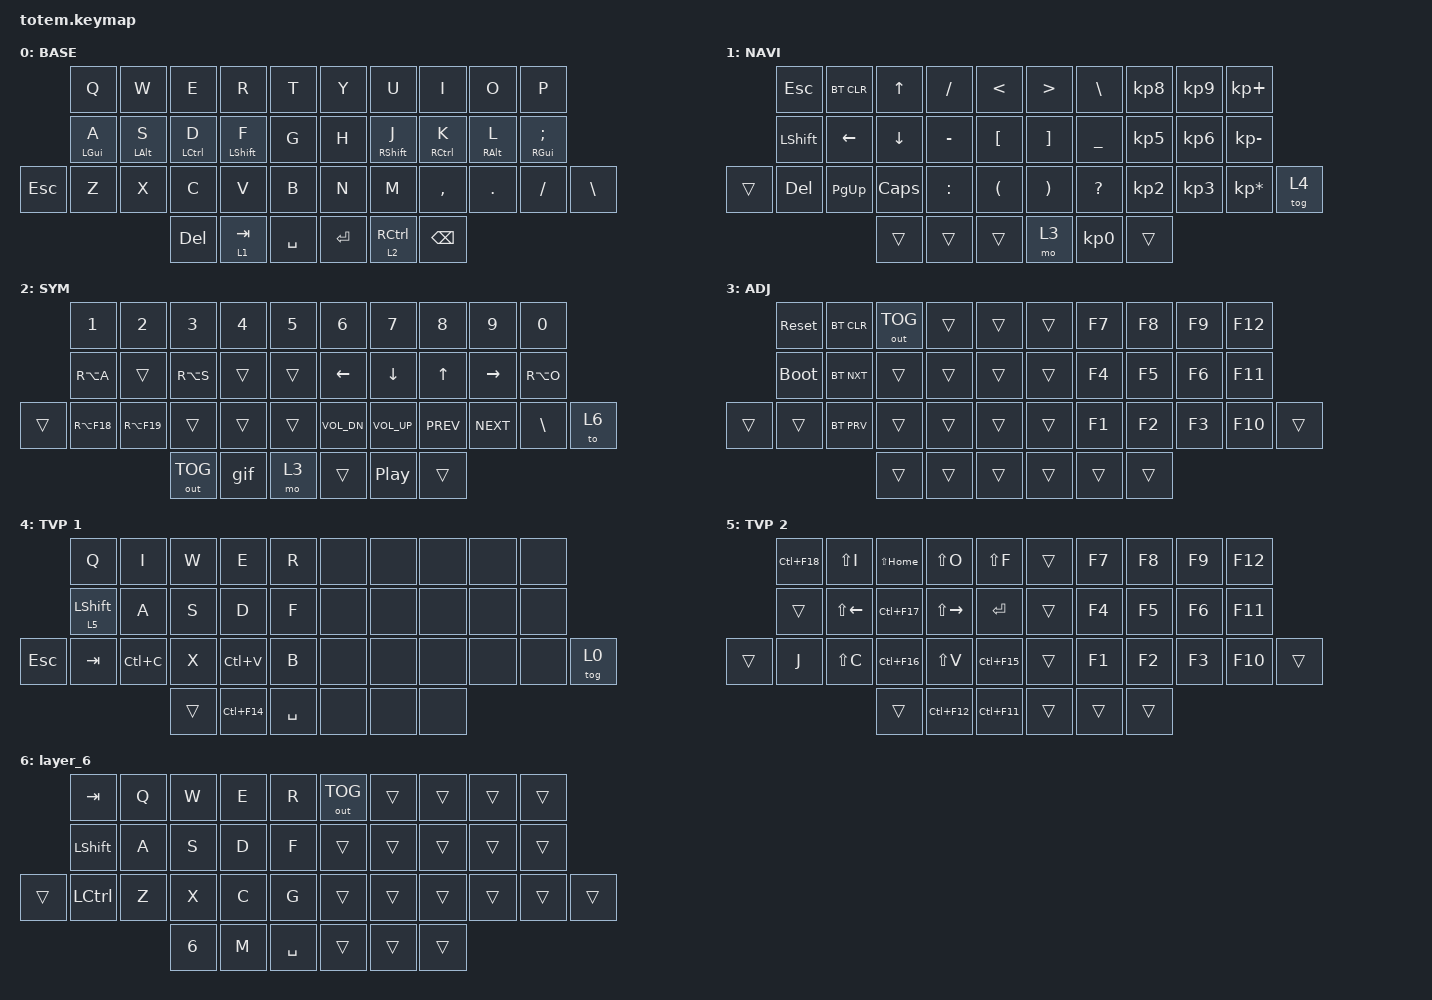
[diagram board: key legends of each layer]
//
//                                                        ▀▀▀▀▀     ▀▀▀▀▀          ▀▀█▀▀
//                                                        ▄▀▀▀▄  ▄  ▄▀▀▀▄  ▄  ▄▀▀▀▄  █  ▄▀▀▀▄
//                                                        █   █  █  █   █  █  █   █  █  █   █
//                                                         ▀▀▀   █   ▀▀▀   █   ▀▀▀   ▀   ▀▀▀
//                                                               █      ▄▄▄█▄▄▄    █   █  
//                                                               ▀      █  █  █     █▄█
//                                                             ▀▀▀▀▀    █  █  █      ▀
//                                                                      ▀  ▀  ▀
//
// ▄▄▄▄▄▄▄▄▄▄▄▄▄▄▄▄▄▄▄▄▄▄▄▄▄▄▄▄▄▄▄▄▄▄▄▄▄▄▄▄▄▄▄▄▄▄▄▄▄▄▄▄▄▄▄▄▄▄▄▄▄▄▄▄▄▄▄▄▄▄▄▄▄▄▄▄▄▄▄▄▄▄▄▄▄▄▄▄▄▄▄▄▄▄▄▄▄▄▄▄▄▄▄▄▄▄▄▄▄▄▄▄▄▄▄▄▄▄▄▄▄▄▄▄▄▄▄▄▄▄▄▄▄▄▄▄▄▄▄▄▄▄▄▄▄▄▄▄▄

#include <behaviors.dtsi>
#include <dt-bindings/zmk/bt.h>
#include <dt-bindings/zmk/keys.h>
#include <dt-bindings/zmk/outputs.h>

#define BASE 0
#define NAV  1
#define SYM  2
#define ADJ  3
#define TVP1 4
#define TVP2 5

&mt {
    quick-tap-ms = <100>;
    global-quick-tap;
    flavor = "tap-preferred";
    tapping-term-ms = <170>;
    require-prior-idle-ms = <150>;
};

/ {
    combos {
        compatible = "zmk,combos";

        combo_esc {
            timeout-ms = <50>;
            key-positions = <0 1>;
            bindings = <&kp ESC>;
        };

        combo_tvp {
            timeout-ms = <100>;
            key-positions = <11 12 13>;
            bindings = <&tog 4>;
        };
    };

    macros {
        gif: gif {
            label = "giphy";
            compatible = "zmk,behavior-macro";
            #binding-cells = <0>;
            bindings =
                <&macro_press>,
                <&kp LSHFT>,
                <&macro_tap>,
                <&kp N2>,
                <&macro_release>,
                <&kp LSHFT>,
                <&macro_tap>,
                <&kp G &kp I &kp F>;
        };
    };

    keymap {
        compatible = "zmk,keymap";

        // ▄▄▄▄▄▄▄▄▄▄▄▄▄▄▄▄▄▄▄▄▄▄▄▄▄▄▄▄▄▄▄▄▄▄▄▄▄▄▄▄▄▄▄▄▄▄▄▄▄▄▄▄▄▄▄▄▄▄▄▄▄▄▄▄▄▄▄▄▄▄▄▄▄▄▄▄▄▄▄▄▄▄▄▄▄▄▄▄▄▄▄▄▄▄▄▄▄▄▄▄▄▄▄▄▄▄▄▄▄▄▄▄▄▄▄▄▄▄▄▄▄▄▄▄▄▄▄▄▄▄▄▄▄▄▄▄▄▄▄▄▄▄▄▄▄▄▄▄▄

        base_layer {
            // ┏━━━━━━━━━━━━━━━━━━━━━━━━━━━━━━━━━━━━━━━┓

            label = "BASE";

            // ┗━━━━━━━━━━━━━━━━━━━━━━━━━━━━━━━━━━━━━━━┛
            //             ┏━━━━━━━━━━━┳━━━━━━━━━━━┳━━━━━━━━━━━┳━━━━━━━━━━━┳━━━━━━━━━━━┓   ┏━━━━━━━━━━━┳━━━━━━━━━━━┳━━━━━━━━━━━┳━━━━━━━━━━━┳━━━━━━━━━━━┓
            //             ┃     Q     ┃     W     ┃     F     ┃     P     ┃     G     ┃   ┃     J     ┃     L     ┃     U     ┃     Y     ┃     ;     ┃
            //             ┣━━━━━━━━━━━╋━━━━━━━━━━━╋━━━━━━━━━━━╋━━━━━━━━━━━╋━━━━━━━━━━━┫   ┣━━━━━━━━━━━╋━━━━━━━━━━━╋━━━━━━━━━━━╋━━━━━━━━━━━╋━━━━━━━━━━━┫
            //             ┃     A     ┃     R     ┃     S     ┃     T     ┃     D     ┃   ┃     H     ┃     N     ┃     E     ┃     I     ┃     O     ┃
            // ┏━━━━━━━━━━━╋━━━━━━━━━━━╋━━━━━━━━━━━╋━━━━━━━━━━━╋━━━━━━━━━━━╋━━━━━━━━━━━┫   ┣━━━━━━━━━━━╋━━━━━━━━━━━╋━━━━━━━━━━━╋━━━━━━━━━━━╋━━━━━━━━━━━╋━━━━━━━━━━━┓
            // ┃     Q     ┃     Z     ┃     X     ┃     C     ┃     V     ┃     B     ┃   ┃     K     ┃     M     ┃     ,     ┃     .     ┃     /     ┃     \     ┃
            // ┗━━━━━━━━━━━┻━━━━━━━━━━━┻━━━━━━━━━━━╋━━━━━━━━━━━╋━━━━━━━━━━━╋━━━━━━━━━━━┫   ┣━━━━━━━━━━━╋━━━━━━━━━━━╋━━━━━━━━━━━╋━━━━━━━━━━━┻━━━━━━━━━━━┻━━━━━━━━━━━┛
            //                                     ┃    DEL    ┃    TAB    ┃    SPC    ┃   ┃   ENTER   ┃           ┃   BSPC    ┃
            //                                     ┗━━━━━━━━━━━┻━━━━━━━━━━━┻━━━━━━━━━━━┛   ┗━━━━━━━━━━━┻━━━━━━━━━━━┻━━━━━━━━━━━┛

            bindings = <
            &kp Q       &kp W       &kp E        &kp R        &kp T        &kp Y    &kp U        &kp I        &kp O       &kp P
            &mt LGUI A  &mt LALT S  &mt LCTRL D  &mt LSHFT F  &kp G        &kp H    &mt RSHFT J  &mt RCTRL K  &mt RALT L  &mt RIGHT_GUI SEMICOLON
&kp ESCAPE  &kp Z       &kp X       &kp C        &kp V        &kp B        &kp N    &kp M        &kp COMMA    &kp DOT     &kp FSLH                 &kp BSLH
                                    &kp DEL      &lt 1 TAB    &kp SPACE    &kp RET  &lt 2 RCTRL  &kp BSPC
            >;
        };

        // ▄▄▄▄▄▄▄▄▄▄▄▄▄▄▄▄▄▄▄▄▄▄▄▄▄▄▄▄▄▄▄▄▄▄▄▄▄▄▄▄▄▄▄▄▄▄▄▄▄▄▄▄▄▄▄▄▄▄▄▄▄▄▄▄▄▄▄▄▄▄▄▄▄▄▄▄▄▄▄▄▄▄▄▄▄▄▄▄▄▄▄▄▄▄▄▄▄▄▄▄▄▄▄▄▄▄▄▄▄▄▄▄▄▄▄▄▄▄▄▄▄▄▄▄▄▄▄▄▄▄▄▄▄▄▄▄▄▄▄▄▄▄▄▄▄▄▄▄▄

        nav_layer {
            // ┏━━━━━━━━━━━━━━━━━━━━━━━━━━━━━━━━━━━━━━━┓

            label = "NAVI";

            // ┗━━━━━━━━━━━━━━━━━━━━━━━━━━━━━━━━━━━━━━━┛
            //             ┏━━━━━━━━━━━┳━━━━━━━━━━━┳━━━━━━━━━━━┳━━━━━━━━━━━┳━━━━━━━━━━━┓   ┏━━━━━━━━━━━┳━━━━━━━━━━━┳━━━━━━━━━━━┳━━━━━━━━━━━┳━━━━━━━━━━━┓
            //             ┃           ┃           ┃     UP    ┃           ┃     {     ┃   ┃     }     ┃     7     ┃     8     ┃     9     ┃     +     ┃
            //             ┣━━━━━━━━━━━╋━━━━━━━━━━━╋━━━━━━━━━━━╋━━━━━━━━━━━╋━━━━━━━━━━━┫   ┣━━━━━━━━━━━╋━━━━━━━━━━━╋━━━━━━━━━━━╋━━━━━━━━━━━╋━━━━━━━━━━━┫
            //             ┃   SHIFT   ┃   LEFT    ┃    DOWN   ┃   RIGHT   ┃     [     ┃   ┃     ]     ┃     4     ┃     5     ┃     6     ┃     -     ┃
            // ┏━━━━━━━━━━━╋━━━━━━━━━━━╋━━━━━━━━━━━╋━━━━━━━━━━━╋━━━━━━━━━━━╋━━━━━━━━━━━┫   ┣━━━━━━━━━━━╋━━━━━━━━━━━╋━━━━━━━━━━━╋━━━━━━━━━━━╋━━━━━━━━━━━╋━━━━━━━━━━━┓
            // ┃           ┃           ┃   P UP    ┃  C LOCK   ┃  P DOWN   ┃     (     ┃   ┃     )     ┃     1     ┃     2     ┃     3     ┃     *     ┃           ┃
            // ┗━━━━━━━━━━━┻━━━━━━━━━━━┻━━━━━━━━━━━╋━━━━━━━━━━━╋━━━━━━━━━━━╋━━━━━━━━━━━┫   ┣━━━━━━━━━━━╋━━━━━━━━━━━╋━━━━━━━━━━━╋━━━━━━━━━━━┻━━━━━━━━━━━┻━━━━━━━━━━━┛
            //                                     ┃           ┃    TAB    ┃    SPC    ┃   ┃    DEL    ┃     0     ┃           ┃
            //                                     ┗━━━━━━━━━━━┻━━━━━━━━━━━┻━━━━━━━━━━━┛   ┗━━━━━━━━━━━┻━━━━━━━━━━━┻━━━━━━━━━━━┛

            bindings = <
        &kp ESC    &bt BT_CLR  &kp UP    &kp SLASH  &kp LESS_THAN    &kp GREATER_THAN  &kp BACKSLASH   &kp KP_N8  &kp KP_N9  &kp KP_PLUS
        &kp LSHFT  &kp LEFT    &kp DOWN  &kp MINUS  &kp LBKT         &kp RBKT          &kp UNDERSCORE  &kp KP_N5  &kp KP_N6  &kp KP_MINUS
&trans  &kp DEL    &kp PG_UP   &kp CAPS  &kp COLON  &kp LPAR         &kp RPAR          &kp QUESTION    &kp KP_N2  &kp KP_N3  &kp KP_MULTIPLY  &tog 4
                               &trans    &trans     &trans           &mo 3             &kp KP_N0       &trans
            >;
        };

        // ▄▄▄▄▄▄▄▄▄▄▄▄▄▄▄▄▄▄▄▄▄▄▄▄▄▄▄▄▄▄▄▄▄▄▄▄▄▄▄▄▄▄▄▄▄▄▄▄▄▄▄▄▄▄▄▄▄▄▄▄▄▄▄▄▄▄▄▄▄▄▄▄▄▄▄▄▄▄▄▄▄▄▄▄▄▄▄▄▄▄▄▄▄▄▄▄▄▄▄▄▄▄▄▄▄▄▄▄▄▄▄▄▄▄▄▄▄▄▄▄▄▄▄▄▄▄▄▄▄▄▄▄▄▄▄▄▄▄▄▄▄▄▄▄▄▄▄▄▄

        sim_layer {
            // ┏━━━━━━━━━━━━━━━━━━━━━━━━━━━━━━━━━━━━━━━┓

            label = "SYM";

            // ┗━━━━━━━━━━━━━━━━━━━━━━━━━━━━━━━━━━━━━━━┛
            //             ┏━━━━━━━━━━━┳━━━━━━━━━━━┳━━━━━━━━━━━┳━━━━━━━━━━━┳━━━━━━━━━━━┓   ┏━━━━━━━━━━━┳━━━━━━━━━━━┳━━━━━━━━━━━┳━━━━━━━━━━━┳━━━━━━━━━━━┓
            //             ┃     !     ┃     @     ┃     #     ┃     $     ┃     %     ┃   ┃     ˆ     ┃     &     ┃     Ü     ┃     '     ┃     "     ┃
            //             ┣━━━━━━━━━━━╋━━━━━━━━━━━╋━━━━━━━━━━━╋━━━━━━━━━━━╋━━━━━━━━━━━┫   ┣━━━━━━━━━━━╋━━━━━━━━━━━╋━━━━━━━━━━━╋━━━━━━━━━━━╋━━━━━━━━━━━┫
            //             ┃     Ä     ┃           ┃    SZ     ┃           ┃           ┃   ┃   MUTE    ┃   YEN     ┃   EURO    ┃  POUND    ┃     Ö     ┃
            // ┏━━━━━━━━━━━╋━━━━━━━━━━━╋━━━━━━━━━━━╋━━━━━━━━━━━╋━━━━━━━━━━━╋━━━━━━━━━━━┫   ┣━━━━━━━━━━━╋━━━━━━━━━━━╋━━━━━━━━━━━╋━━━━━━━━━━━╋━━━━━━━━━━━╋━━━━━━━━━━━┓
            // ┃           ┃  EMAIL1   ┃  EMAIL2   ┃           ┃           ┃           ┃   ┃   VOL-    ┃   VOL+    ┃   LAST    ┃   NEXT    ┃     \     ┃           ┃
            // ┗━━━━━━━━━━━┻━━━━━━━━━━━┻━━━━━━━━━━━╋━━━━━━━━━━━╋━━━━━━━━━━━╋━━━━━━━━━━━┫   ┣━━━━━━━━━━━╋━━━━━━━━━━━╋━━━━━━━━━━━╋━━━━━━━━━━━┻━━━━━━━━━━━┻━━━━━━━━━━━┛
            //                                     ┃           ┃    GIF    ┃    ADJ    ┃   ┃           ┃           ┃           ┃
            //                                     ┗━━━━━━━━━━━┻━━━━━━━━━━━┻━━━━━━━━━━━┛   ┗━━━━━━━━━━━┻━━━━━━━━━━━┻━━━━━━━━━━━┛

            bindings = <
        &kp NUMBER_1  &kp NUMBER_2  &kp NUMBER_3  &kp NUMBER_4  &kp N5    &kp NUMBER_6  &kp N7        &kp N8        &kp N9      &kp N0
        &kp RA(A)     &trans        &kp RA(S)     &trans        &trans    &kp LEFT      &kp DOWN      &kp UP_ARROW  &kp RIGHT   &kp RA(O)
&trans  &kp RA(F18)   &kp RA(F19)   &trans        &trans        &trans    &kp C_VOL_DN  &kp C_VOL_UP  &kp C_PREV    &kp C_NEXT  &kp BSLH   &to 6
                                    &out OUT_TOG  &gif          &mo 3     &trans        &kp C_PP      &trans
            >;
        };

        // ▄▄▄▄▄▄▄▄▄▄▄▄▄▄▄▄▄▄▄▄▄▄▄▄▄▄▄▄▄▄▄▄▄▄▄▄▄▄▄▄▄▄▄▄▄▄▄▄▄▄▄▄▄▄▄▄▄▄▄▄▄▄▄▄▄▄▄▄▄▄▄▄▄▄▄▄▄▄▄▄▄▄▄▄▄▄▄▄▄▄▄▄▄▄▄▄▄▄▄▄▄▄▄▄▄▄▄▄▄▄▄▄▄▄▄▄▄▄▄▄▄▄▄▄▄▄▄▄▄▄▄▄▄▄▄▄▄▄▄▄▄▄▄▄▄▄▄▄▄

        adjust_layer {
            // ┏━━━━━━━━━━━━━━━━━━━━━━━━━━━━━━━━━━━━━━━┓

            label = "ADJ";

            // ┗━━━━━━━━━━━━━━━━━━━━━━━━━━━━━━━━━━━━━━━┛
            //             ┏━━━━━━━━━━━┳━━━━━━━━━━━┳━━━━━━━━━━━┳━━━━━━━━━━━┳━━━━━━━━━━━┓   ┏━━━━━━━━━━━┳━━━━━━━━━━━┳━━━━━━━━━━━┳━━━━━━━━━━━┳━━━━━━━━━━━┓
            //             ┃   RESET   ┃ BT CLEAR  ┃  OUT TOG  ┃           ┃           ┃   ┃           ┃    F7     ┃    F8     ┃    F9     ┃    F12    ┃
            //             ┣━━━━━━━━━━━╋━━━━━━━━━━━╋━━━━━━━━━━━╋━━━━━━━━━━━╋━━━━━━━━━━━┫   ┣━━━━━━━━━━━╋━━━━━━━━━━━╋━━━━━━━━━━━╋━━━━━━━━━━━╋━━━━━━━━━━━┫
            //             ┃ BOOTLOAD  ┃ BT NEXT   ┃           ┃           ┃           ┃   ┃           ┃    F4     ┃    F5     ┃    F6     ┃    F11    ┃
            // ┏━━━━━━━━━━━╋━━━━━━━━━━━╋━━━━━━━━━━━╋━━━━━━━━━━━╋━━━━━━━━━━━╋━━━━━━━━━━━┫   ┣━━━━━━━━━━━╋━━━━━━━━━━━╋━━━━━━━━━━━╋━━━━━━━━━━━╋━━━━━━━━━━━╋━━━━━━━━━━━┓
            // ┃           ┃           ┃ BT PREV   ┃           ┃           ┃           ┃   ┃           ┃    F1     ┃    F2     ┃    F3     ┃    F10    ┃           ┃
            // ┗━━━━━━━━━━━┻━━━━━━━━━━━┻━━━━━━━━━━━╋━━━━━━━━━━━╋━━━━━━━━━━━╋━━━━━━━━━━━┫   ┣━━━━━━━━━━━╋━━━━━━━━━━━╋━━━━━━━━━━━╋━━━━━━━━━━━┻━━━━━━━━━━━┻━━━━━━━━━━━┛
            //                                     ┃           ┃           ┃           ┃   ┃           ┃           ┃           ┃
            //                                     ┗━━━━━━━━━━━┻━━━━━━━━━━━┻━━━━━━━━━━━┛   ┗━━━━━━━━━━━┻━━━━━━━━━━━┻━━━━━━━━━━━┛

            bindings = <
        &sys_reset   &bt BT_CLR  &out OUT_TOG  &trans  &trans    &trans  &kp F7  &kp F8  &kp F9  &kp F12
        &bootloader  &bt BT_NXT  &trans        &trans  &trans    &trans  &kp F4  &kp F5  &kp F6  &kp F11
&trans  &trans       &bt BT_PRV  &trans        &trans  &trans    &trans  &kp F1  &kp F2  &kp F3  &kp F10  &trans
                                 &trans        &trans  &trans    &trans  &trans  &trans
            >;
        };

        // ▄▄▄▄▄▄▄▄▄▄▄▄▄▄▄▄▄▄▄▄▄▄▄▄▄▄▄▄▄▄▄▄▄▄▄▄▄▄▄▄▄▄▄▄▄▄▄▄▄▄▄▄▄▄▄▄▄▄▄▄▄▄▄▄▄▄▄▄▄▄▄▄▄▄▄▄▄▄▄▄▄▄▄▄▄▄▄▄▄▄▄▄▄▄▄▄▄▄▄▄▄▄▄▄▄▄▄▄▄▄▄▄▄▄▄▄▄▄▄▄▄▄▄▄▄▄▄▄▄▄▄▄▄▄▄▄▄▄▄▄▄▄▄▄▄▄▄▄▄

        tvp1_layer {
            // ┏━━━━━━━━━━━━━━━━━━━━━━━━━━━━━━━━━━━━━━━┓

            label = "TVP 1";

            // ┗━━━━━━━━━━━━━━━━━━━━━━━━━━━━━━━━━━━━━━━┛
            //             ┏━━━━━━━━━━━┳━━━━━━━━━━━┳━━━━━━━━━━━┳━━━━━━━━━━━┳━━━━━━━━━━━┓   ┏━━━━━━━━━━━┳━━━━━━━━━━━┳━━━━━━━━━━━┳━━━━━━━━━━━┳━━━━━━━━━━━┓
            //             ┃ NEXT FILE ┃ MARK IN   ┃ ROTATE    ┃ MARK OUT  ┃ SHOW SNAP ┃   ┃           ┃           ┃           ┃           ┃           ┃
            //             ┣━━━━━━━━━━━╋━━━━━━━━━━━╋━━━━━━━━━━━╋━━━━━━━━━━━╋━━━━━━━━━━━┫   ┣━━━━━━━━━━━╋━━━━━━━━━━━╋━━━━━━━━━━━╋━━━━━━━━━━━╋━━━━━━━━━━━┫
            //             ┃ TVP II    ┃ LEFT      ┃ PAN       ┃ RIGHT     ┃ PLAY/FLIP ┃   ┃           ┃           ┃           ┃           ┃           ┃
            // ┏━━━━━━━━━━━╋━━━━━━━━━━━╋━━━━━━━━━━━╋━━━━━━━━━━━╋━━━━━━━━━━━╋━━━━━━━━━━━┫   ┣━━━━━━━━━━━╋━━━━━━━━━━━╋━━━━━━━━━━━╋━━━━━━━━━━━╋━━━━━━━━━━━╋━━━━━━━━━━━┓
            // ┃ FULLSCR   ┃ SHIFT     ┃ COPY      ┃ DELETE    ┃ PASTE     ┃ IMG MARK  ┃   ┃           ┃           ┃           ┃           ┃           ┃           ┃
            // ┗━━━━━━━━━━━┻━━━━━━━━━━━┻━━━━━━━━━━━╋━━━━━━━━━━━╋━━━━━━━━━━━╋━━━━━━━━━━━┫   ┣━━━━━━━━━━━╋━━━━━━━━━━━╋━━━━━━━━━━━╋━━━━━━━━━━━┻━━━━━━━━━━━┻━━━━━━━━━━━┛
            //                                     ┃           ┃ UNDO/SAVE ┃  SEL/MOV  ┃   ┃           ┃           ┃           ┃
            //                                     ┗━━━━━━━━━━━┻━━━━━━━━━━━┻━━━━━━━━━━━┛   ┗━━━━━━━━━━━┻━━━━━━━━━━━┻━━━━━━━━━━━┛

            bindings = <
         &kp Q         &kp I      &kp W   &kp E        &kp R        &none  &none  &none  &none  &none
         &lt 5 LSHIFT  &kp A      &kp S   &kp D        &kp F        &none  &none  &none  &none  &none
&kp ESC  &kp TAB       &kp LC(C)  &kp X   &kp LC(V)    &kp B        &none  &none  &none  &none  &none  &tog 0
                                  &trans  &kp LC(F14)  &kp SPACE    &none  &none  &none
            >;
        };

        // ▄▄▄▄▄▄▄▄▄▄▄▄▄▄▄▄▄▄▄▄▄▄▄▄▄▄▄▄▄▄▄▄▄▄▄▄▄▄▄▄▄▄▄▄▄▄▄▄▄▄▄▄▄▄▄▄▄▄▄▄▄▄▄▄▄▄▄▄▄▄▄▄▄▄▄▄▄▄▄▄▄▄▄▄▄▄▄▄▄▄▄▄▄▄▄▄▄▄▄▄▄▄▄▄▄▄▄▄▄▄▄▄▄▄▄▄▄▄▄▄▄▄▄▄▄▄▄▄▄▄▄▄▄▄▄▄▄▄▄▄▄▄▄▄▄▄▄▄▄

        tvp2_layer {
            // ┏━━━━━━━━━━━━━━━━━━━━━━━━━━━━━━━━━━━━━━━┓

            label = "TVP 2";

            // ┗━━━━━━━━━━━━━━━━━━━━━━━━━━━━━━━━━━━━━━━┛
            //             ┏━━━━━━━━━━━┳━━━━━━━━━━━┳━━━━━━━━━━━┳━━━━━━━━━━━┳━━━━━━━━━━━┓   ┏━━━━━━━━━━━┳━━━━━━━━━━━┳━━━━━━━━━━━┳━━━━━━━━━━━┳━━━━━━━━━━━┓
            //             ┃ SOLO      ┃ TOGGLE IN ┃ RESET ROT ┃ TOGGLE OUT┃ TAKE SNAP ┃   ┃           ┃           ┃           ┃           ┃           ┃
            //             ┣━━━━━━━━━━━╋━━━━━━━━━━━╋━━━━━━━━━━━╋━━━━━━━━━━━╋━━━━━━━━━━━┫   ┣━━━━━━━━━━━╋━━━━━━━━━━━╋━━━━━━━━━━━╋━━━━━━━━━━━╋━━━━━━━━━━━┫
            //             ┃ ---       ┃ LAST KEY  ┃ NEW KEY   ┃ NEXT KEY  ┃ ENTER     ┃   ┃           ┃           ┃           ┃           ┃           ┃
            // ┏━━━━━━━━━━━╋━━━━━━━━━━━╋━━━━━━━━━━━╋━━━━━━━━━━━╋━━━━━━━━━━━╋━━━━━━━━━━━┫   ┣━━━━━━━━━━━╋━━━━━━━━━━━╋━━━━━━━━━━━╋━━━━━━━━━━━╋━━━━━━━━━━━╋━━━━━━━━━━━┓
            // ┃           ┃ FULLSCR   ┃ CPY2BRUSH ┃ DEL HEAD  ┃ PSTinPLACE┃ BOOK MARK ┃   ┃           ┃           ┃           ┃           ┃           ┃           ┃
            // ┗━━━━━━━━━━━┻━━━━━━━━━━━┻━━━━━━━━━━━╋━━━━━━━━━━━╋━━━━━━━━━━━╋━━━━━━━━━━━┫   ┣━━━━━━━━━━━╋━━━━━━━━━━━╋━━━━━━━━━━━╋━━━━━━━━━━━┻━━━━━━━━━━━┻━━━━━━━━━━━┛
            //                                     ┃           ┃ REDO/SAV1 ┃TRANS/WARP ┃   ┃           ┃           ┃           ┃
            //                                     ┗━━━━━━━━━━━┻━━━━━━━━━━━┻━━━━━━━━━━━┛   ┗━━━━━━━━━━━┻━━━━━━━━━━━┻━━━━━━━━━━━┛

            bindings = <
        &kp LC(F18)  &kp LS(I)     &kp LS(HOME)  &kp LS(O)      &kp LS(F)      &trans  &kp F7  &kp F8  &kp F9  &kp F12
        &trans       &kp LS(LEFT)  &kp LC(F17)   &kp LS(RIGHT)  &kp RET        &trans  &kp F4  &kp F5  &kp F6  &kp F11
&trans  &kp J        &kp LS(C)     &kp LC(F16)   &kp LS(V)      &kp LC(F15)    &trans  &kp F1  &kp F2  &kp F3  &kp F10  &trans
                                   &trans        &kp LC(F12)    &kp LC(F11)    &trans  &trans  &trans
            >;
        };

        layer_6 {
            bindings = <
        &kp TAB    &kp Q  &kp W   &kp E  &kp R        &out OUT_TOG  &trans  &trans  &trans  &trans
        &kp LSHFT  &kp A  &kp S   &kp D  &kp F        &trans        &trans  &trans  &trans  &trans
&trans  &kp LCTRL  &kp Z  &kp X   &kp C  &kp G        &trans        &trans  &trans  &trans  &trans  &trans
                          &kp N6  &kp M  &kp SPACE    &trans        &trans  &trans
            >;
        };
    };
};
